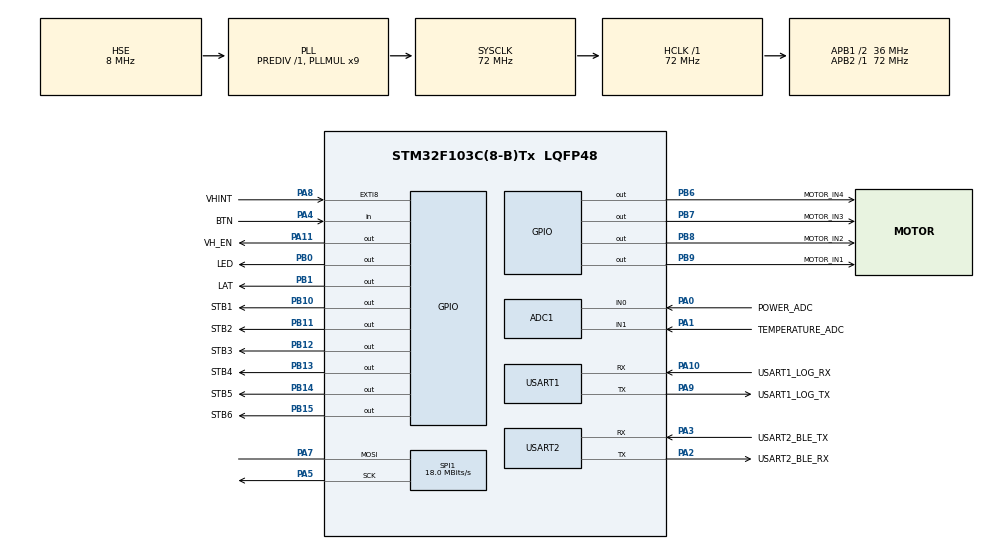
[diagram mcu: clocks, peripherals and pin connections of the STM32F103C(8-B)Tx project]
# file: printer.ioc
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ADC1.Channel-1\#ChannelRegularConversion=ADC_CHANNEL_0
ADC1.Channel-2\#ChannelRegularConversion=ADC_CHANNEL_1
ADC1.ContinuousConvMode=DISABLE
ADC1.DiscontinuousConvMode=ENABLE
ADC1.NbrOfConversion=2
ADC1.NbrOfConversionFlag=1
ADC1.Rank-1\#ChannelRegularConversion=1
ADC1.Rank-2\#ChannelRegularConversion=2
ADC1.SamplingTime-1\#ChannelRegularConversion=ADC_SAMPLETIME_239CYCLES_5
ADC1.SamplingTime-2\#ChannelRegularConversion=ADC_SAMPLETIME_239CYCLES_5
ADC1.master=1
FREERTOS.Tasks01=defaultTask,0,128,StartDefaultTask,Default,NULL,Dynamic,NULL,NULL
FREERTOS.configTOTAL_HEAP_SIZE=3072
FREERTOS.configUSE_TIMERS=1
Mcu.Family=STM32F1
Mcu.Name=STM32F103C(8-B)Tx
Mcu.Package=LQFP48
NVIC.EXTI9_5_IRQn=true\:5\:0\:false\:false\:true\:false\:true\:true
NVIC.PriorityGroup=NVIC_PRIORITYGROUP_4
NVIC.TIM4_IRQn=true\:0\:0\:false\:false\:true\:false\:false\:true
NVIC.TimeBase=TIM4_IRQn
NVIC.TimeBaseIP=TIM4
NVIC.USART2_IRQn=true\:5\:0\:false\:false\:true\:true\:true\:true
PA0-WKUP.GPIO_Label=POWER_ADC
PA0-WKUP.Signal=ADCx_IN0
PA1.GPIO_Label=TEMPERATURE_ADC
PA1.Signal=ADCx_IN1
PA10.GPIO_Label=USART1_LOG_RX
PA10.Mode=Asynchronous
PA10.Signal=USART1_RX
PA11.GPIO_Label=VH_EN
PA11.Signal=GPIO_Output
PA13.Mode=Serial_Wire
PA13.Signal=SYS_JTMS-SWDIO
PA14.Mode=Serial_Wire
PA14.Signal=SYS_JTCK-SWCLK
PA2.GPIO_Label=USART2_BLE_RX
PA2.Mode=Asynchronous
PA2.Signal=USART2_TX
PA3.GPIO_Label=USART2_BLE_TX
PA3.Mode=Asynchronous
PA3.Signal=USART2_RX
PA4.GPIO_Label=BTN
PA4.GPIO_PuPd=GPIO_PULLUP
PA4.Signal=GPIO_Input
PA5.Mode=Simplex_Bidirectional_Master
PA5.Signal=SPI1_SCK
PA7.Mode=Simplex_Bidirectional_Master
PA7.Signal=SPI1_MOSI
PA8.GPIO_Label=VHINT
PA8.Signal=GPXTI8
PA9.GPIO_Label=USART1_LOG_TX
PA9.Mode=Asynchronous
PA9.Signal=USART1_TX
PB0.GPIO_Label=LED
PB0.GPIO_PuPd=GPIO_PULLUP
PB0.Signal=GPIO_Output
PB1.GPIO_Label=LAT
PB1.GPIO_PuPd=GPIO_PULLUP
PB1.PinState=GPIO_PIN_SET
PB1.Signal=GPIO_Output
PB10.GPIO_Label=STB1
PB10.Signal=GPIO_Output
PB11.GPIO_Label=STB2
PB11.Signal=GPIO_Output
PB12.GPIO_Label=STB3
PB12.Signal=GPIO_Output
PB13.GPIO_Label=STB4
PB13.Signal=GPIO_Output
PB14.GPIO_Label=STB5
PB14.Signal=GPIO_Output
PB15.GPIO_Label=STB6
PB15.Signal=GPIO_Output
PB6.GPIO_Label=MOTOR_IN4
PB6.Signal=GPIO_Output
PB7.GPIO_Label=MOTOR_IN3
PB7.Signal=GPIO_Output
PB8.GPIO_Label=MOTOR_IN2
PB8.Signal=GPIO_Output
PB9.GPIO_Label=MOTOR_IN1
PB9.Signal=GPIO_Output
PD0-OSC_IN.Mode=HSE-External-Oscillator
PD0-OSC_IN.Signal=RCC_OSC_IN
PD1-OSC_OUT.Mode=HSE-External-Oscillator
PD1-OSC_OUT.Signal=RCC_OSC_OUT
ProjectManager.HeapSize=0x200
ProjectManager.StackSize=0x400
ProjectManager.TargetToolchain=MDK-ARM V5.27
RCC.ADCPresc=RCC_ADCPCLK2_DIV6
RCC.AHBFreq_Value=72000000
RCC.APB1CLKDivider=RCC_HCLK_DIV2
RCC.APB1Freq_Value=36000000
RCC.APB1TimFreq_Value=72000000
RCC.APB2Freq_Value=72000000
RCC.APB2TimFreq_Value=72000000
RCC.HCLKFreq_Value=72000000
RCC.PLLMUL=RCC_PLL_MUL9
RCC.PLLSourceVirtual=RCC_PLLSOURCE_HSE
RCC.SYSCLKFreq_VALUE=72000000
RCC.SYSCLKSource=RCC_SYSCLKSOURCE_PLLCLK
RCC.USBFreq_Value=72000000
SH.ADCx_IN0.0=ADC1_IN0,IN0
SH.ADCx_IN1.0=ADC1_IN1,IN1
SPI1.BaudRatePrescaler=SPI_BAUDRATEPRESCALER_4
SPI1.CLKPolarity=SPI_POLARITY_LOW
SPI1.CalculateBaudRate=18.0 MBits/s
SPI1.Direction=SPI_DIRECTION_1LINE
SPI1.Mode=SPI_MODE_MASTER
SPI1.VirtualType=VM_MASTER
TIM1.Prescaler=71
USART1.VirtualMode=VM_ASYNC
USART2.VirtualMode=VM_ASYNC
VP_FREERTOS_VS_CMSIS_V1.Mode=CMSIS_V1
VP_SYS_VS_tim4.Mode=TIM4
VP_TIM1_VS_ClockSourceINT.Mode=Internal
board=custom

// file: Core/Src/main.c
/* USER CODE BEGIN Header */
/**
  ******************************************************************************
  * @file           : main.c
  * @brief          : Main program body
  ******************************************************************************
  * @attention
  *
  * <h2><center>&copy; Copyright (c) 2023 STMicroelectronics.
  * All rights reserved.</center></h2>
  *
  * This software component is licensed by ST under BSD 3-Clause license,
  * the "License"; You may not use this file except in compliance with the
  * License. You may obtain a copy of the License at:
  *                        opensource.org/licenses/BSD-3-Clause
  *
  ******************************************************************************
  */
/* USER CODE END Header */
#include "main.h"
#include "cmsis_os.h"
#include "adc.h"
#include "spi.h"
#include "tim.h"
#include "usart.h"
#include "gpio.h"

/* USER CODE BEGIN Includes */
#include "stdio.h"
#include "em_task.h"
/* USER CODE END Includes */

void SystemClock_Config(void);
void MX_FREERTOS_Init(void);

/* USER CODE BEGIN 0 */
extern uint8_t aRxBuffer;
/* USER CODE END 0 */

int main(void)
{

  /* MCU Configuration--------------------------------------------------------*/

  /* Reset of all peripherals, Initializes the Flash interface and the Systick. */
  HAL_Init();

  /* Configure the system clock */
  SystemClock_Config();

  /* Initialize all configured peripherals */
  MX_GPIO_Init();
  MX_ADC1_Init();
  MX_SPI1_Init();
  MX_USART1_UART_Init();
  MX_USART2_UART_Init();
  MX_TIM1_Init();
  /* USER CODE BEGIN 2 */
	printf("----app init v1.0.5----\n");
	HAL_UART_Receive_IT(&huart2, (uint8_t *)&aRxBuffer, 1);
	init_task();
  /* USER CODE END 2 */

  /* Call init function for freertos objects (in freertos.c) */
  MX_FREERTOS_Init();
  /* Start scheduler */
  osKernelStart();

  /* We should never get here as control is now taken by the scheduler */
  /* Infinite loop */
  while (1)
  {

  }
}

void SystemClock_Config(void)
{
  RCC_OscInitTypeDef RCC_OscInitStruct = {0};
  RCC_ClkInitTypeDef RCC_ClkInitStruct = {0};
  RCC_PeriphCLKInitTypeDef PeriphClkInit = {0};

  /** Initializes the RCC Oscillators according to the specified parameters
  * in the RCC_OscInitTypeDef structure.
  */
  RCC_OscInitStruct.OscillatorType = RCC_OSCILLATORTYPE_HSE;
  RCC_OscInitStruct.HSEState = RCC_HSE_ON;
  RCC_OscInitStruct.HSEPredivValue = RCC_HSE_PREDIV_DIV1;
  RCC_OscInitStruct.HSIState = RCC_HSI_ON;
  RCC_OscInitStruct.PLL.PLLState = RCC_PLL_ON;
  RCC_OscInitStruct.PLL.PLLSource = RCC_PLLSOURCE_HSE;
  RCC_OscInitStruct.PLL.PLLMUL = RCC_PLL_MUL9;
  if (HAL_RCC_OscConfig(&RCC_OscInitStruct) != HAL_OK)
  {
    Error_Handler();
  }
  /** Initializes the CPU, AHB and APB buses clocks
  */
  RCC_ClkInitStruct.ClockType = RCC_CLOCKTYPE_HCLK|RCC_CLOCKTYPE_SYSCLK
                              |RCC_CLOCKTYPE_PCLK1|RCC_CLOCKTYPE_PCLK2;
  RCC_ClkInitStruct.SYSCLKSource = RCC_SYSCLKSOURCE_PLLCLK;
  RCC_ClkInitStruct.AHBCLKDivider = RCC_SYSCLK_DIV1;
  RCC_ClkInitStruct.APB1CLKDivider = RCC_HCLK_DIV2;
  RCC_ClkInitStruct.APB2CLKDivider = RCC_HCLK_DIV1;

  if (HAL_RCC_ClockConfig(&RCC_ClkInitStruct, FLASH_LATENCY_2) != HAL_OK)
  {
    Error_Handler();
  }
  PeriphClkInit.PeriphClockSelection = RCC_PERIPHCLK_ADC;
  PeriphClkInit.AdcClockSelection = RCC_ADCPCLK2_DIV6;
  if (HAL_RCCEx_PeriphCLKConfig(&PeriphClkInit) != HAL_OK)
  {
    Error_Handler();
  }
}

/* USER CODE BEGIN 4 */
//串口printf重定向
#ifdef __GNUC__
  /* With GCC/RAISONANCE, small printf (option LD Linker->Libraries->Small printf
     set to 'Yes') calls __io_putchar() */
  #define PUTCHAR_PROTOTYPE int __io_putchar(int ch)
#else
  #define PUTCHAR_PROTOTYPE int fputc(int ch, FILE *f)
#endif /* __GNUC__ */
/**
  * @brief  Retargets the C library printf function to the USART.
  * @param  None
  * @retval None
  */
PUTCHAR_PROTOTYPE
{
  /* Place your implementation of fputc here */
  /* e.g. write a character to the EVAL_COM1 and Loop until the end of transmission */
  HAL_UART_Transmit(&huart1, (uint8_t *)&ch, 1, 0xFFFF);

  return ch;
}
/* USER CODE END 4 */

void HAL_TIM_PeriodElapsedCallback(TIM_HandleTypeDef *htim)
{
  if (htim->Instance == TIM4) {
    HAL_IncTick();
  }
}

void Error_Handler(void)
{
  __disable_irq();
  while (1)
  {
  }
}

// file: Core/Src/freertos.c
/* USER CODE BEGIN Header */
/**
  ******************************************************************************
  * File Name          : freertos.c
  * Description        : Code for freertos applications
  ******************************************************************************
  * @attention
  *
  * <h2><center>&copy; Copyright (c) 2023 STMicroelectronics.
  * All rights reserved.</center></h2>
  *
  * This software component is licensed by ST under Ultimate Liberty license
  * SLA0044, the "License"; You may not use this file except in compliance with
  * the License. You may obtain a copy of the License at:
  *                             www.st.com/SLA0044
  *
  ******************************************************************************
  */
/* USER CODE END Header */

#include "FreeRTOS.h"
#include "task.h"
#include "main.h"
#include "cmsis_os.h"

/* USER CODE BEGIN Includes */
#include <stdio.h>
/* USER CODE END Includes */

osThreadId defaultTaskHandle;

void StartDefaultTask(void const * argument);

void MX_FREERTOS_Init(void); /* (MISRA C 2004 rule 8.1) */

/* GetIdleTaskMemory prototype (linked to static allocation support) */
void vApplicationGetIdleTaskMemory( StaticTask_t **ppxIdleTaskTCBBuffer, StackType_t **ppxIdleTaskStackBuffer, uint32_t *pulIdleTaskStackSize );

/* GetTimerTaskMemory prototype (linked to static allocation support) */
void vApplicationGetTimerTaskMemory( StaticTask_t **ppxTimerTaskTCBBuffer, StackType_t **ppxTimerTaskStackBuffer, uint32_t *pulTimerTaskStackSize );

/* USER CODE BEGIN GET_IDLE_TASK_MEMORY */
static StaticTask_t xIdleTaskTCBBuffer;
static StackType_t xIdleStack[configMINIMAL_STACK_SIZE];

void vApplicationGetIdleTaskMemory( StaticTask_t **ppxIdleTaskTCBBuffer, StackType_t **ppxIdleTaskStackBuffer, uint32_t *pulIdleTaskStackSize )
{
  *ppxIdleTaskTCBBuffer = &xIdleTaskTCBBuffer;
  *ppxIdleTaskStackBuffer = &xIdleStack[0];
  *pulIdleTaskStackSize = configMINIMAL_STACK_SIZE;
  /* place for user code */
}
/* USER CODE END GET_IDLE_TASK_MEMORY */

/* USER CODE BEGIN GET_TIMER_TASK_MEMORY */
static StaticTask_t xTimerTaskTCBBuffer;
static StackType_t xTimerStack[configTIMER_TASK_STACK_DEPTH];

void vApplicationGetTimerTaskMemory( StaticTask_t **ppxTimerTaskTCBBuffer, StackType_t **ppxTimerTaskStackBuffer, uint32_t *pulTimerTaskStackSize )
{
  *ppxTimerTaskTCBBuffer = &xTimerTaskTCBBuffer;
  *ppxTimerTaskStackBuffer = &xTimerStack[0];
  *pulTimerTaskStackSize = configTIMER_TASK_STACK_DEPTH;
  /* place for user code */
}
/* USER CODE END GET_TIMER_TASK_MEMORY */

void MX_FREERTOS_Init(void) {

  /* Create the thread(s) */
  /* definition and creation of defaultTask */
  osThreadDef(defaultTask, StartDefaultTask, osPriorityNormal, 0, 128);
  defaultTaskHandle = osThreadCreate(osThread(defaultTask), NULL);

}

void StartDefaultTask(void const * argument)
{
  for(;;)
  {
    osDelay(1);
  }
}
